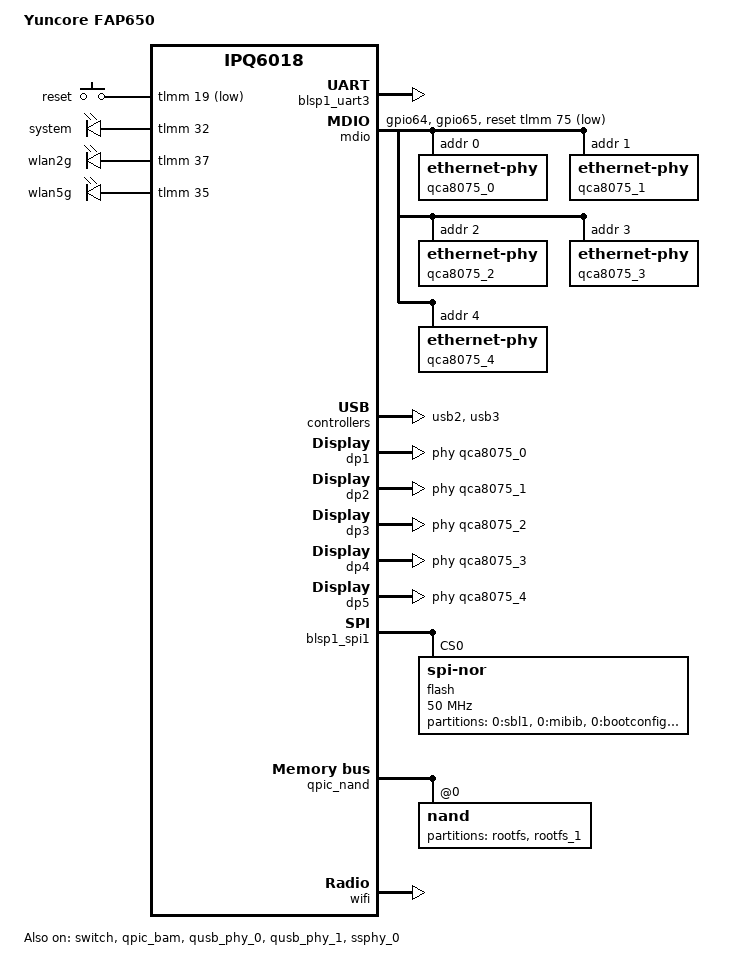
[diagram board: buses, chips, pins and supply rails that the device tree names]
// SPDX-License-Identifier: MIT, GPL-2.0 or later
/* Copyright (c) 2023, Ruslan Isaev <legale.legale@gmail.com> */

/dts-v1/;


#include "ipq6018.dtsi"
#include "ipq6018-ess.dtsi"
#include "ipq6018-512m.dtsi"
#include "ipq6018-nss.dtsi"

#include <dt-bindings/input/input.h>
#include <dt-bindings/gpio/gpio.h>

/ {
	model = "Yuncore FAP650";
	compatible = "yuncore,fap650", "qcom,ipq6018-cp03", "qcom,ipq6018";
	
	/delete-node/ rpm-glink;
	
	aliases {
		ethernet0 = &dp5;
		ethernet1 = &dp4;
		ethernet2 = &dp3;
		ethernet3 = &dp2;
		ethernet4 = &dp1;
		label-mac-device = &dp5;
		serial0 = &blsp1_uart3;
		led-boot = &led_system;
		led-failsafe = &led_system;
		led-running = &led_system;
		led-upgrade = &led_system;
	};

	chosen {
		stdout-path = "serial0:115200n8";
		bootargs-append = " root=/dev/ubiblock0_1 earlycon debug iomem=relaxed";
	};

	keys {
		compatible = "gpio-keys";

		reset {
			label = "reset";
			gpios = <&tlmm 19 GPIO_ACTIVE_LOW>;
			linux,code = <KEY_RESTART>;
		};
	};

	leds {
		compatible = "gpio-leds";

		led_system: led_system {
			label = "system";
			color = "red";
			gpios = <&tlmm 32 GPIO_ACTIVE_HIGH>;
		};

		led_wlan2g {
			label = "wlan2g";
			color = "green";
			gpios = <&tlmm 37 GPIO_ACTIVE_HIGH>;
		};

		led_wlan5g {
			label = "wlan5g";
			color = "blue";
			gpios = <&tlmm 35 GPIO_ACTIVE_HIGH>;
		};
	};
};

&soc {
	q6v5_m3: q6v5_m3 {
		compatible = "qca,q6v5-m3-rproc";
		firmware = "IPQ6018/m3_fw.mdt";
		qca,auto-restart;
		qcom,restart-group = <&q6v5_m3 &q6v5_wcss>;
	};
};

&blsp1_uart3 {
	pinctrl-0 = <&serial_3_pins>;
	pinctrl-names = "default";
	status = "okay";
};

&tlmm {
	mdio_pins: mdio-pins {
		mdc {
			pins = "gpio64";
			function = "mdc";
			drive-strength = <8>;
			bias-pull-up;
		};

		mdio {
			pins = "gpio65";
			function = "mdio";
			drive-strength = <8>;
			bias-pull-up;
		};
	};

};

&mdio {
	status = "okay";
	pinctrl-0 = <&mdio_pins>;
	pinctrl-names = "default";
	reset-gpios = <&tlmm 75 GPIO_ACTIVE_LOW>;
	reset-delay-us = <10000>;
	reset-post-delay-us = <50000>;

	qca8075_0: ethernet-phy@0 {
		reg = <0>;
	};
	qca8075_1: ethernet-phy@1 {
		reg = <1>;
	};
	qca8075_2: ethernet-phy@2 {
		reg = <2>;
	};
	qca8075_3: ethernet-phy@3 {
		reg = <3>;
	};
	qca8075_4: ethernet-phy@4 {
		reg = <4>;
	};
};

&switch {
	status = "okay";
	switch_cpu_bmp =   <ESS_PORT0>; /* cpu port bitmap */
	switch_lan_bmp =   <(ESS_PORT1|ESS_PORT2|ESS_PORT3|ESS_PORT4)>; /* lan port bitmap */
	switch_wan_bmp =   <ESS_PORT5>; /* wan port bitmap */
	switch_inner_bmp = <(ESS_PORT6|ESS_PORT7)>; /*inner port bitmap - ESS_PORT6 | ESS_PORT7 */
	switch_mac_mode =  <MAC_MODE_PSGMII>; /* mac mode for uniphy instance0*/
	switch_mac_mode1 = <MAC_MODE_DISABLED>; /* mac mode for uniphy instance1*/
	switch_mac_mode2 = <MAC_MODE_DISABLED>; /* mac mode for uniphy instance2*/

	qcom,port_phyinfo {
		port@0 {
			port_id = <1>;
			phy_address = <0>;
		};

		port@1 {
			port_id = <2>;
			phy_address = <1>;
		};

		port@2 {
			port_id = <3>;
			phy_address = <2>;
		};

		port@3 {
			port_id = <4>;
			phy_address = <3>;
		};

		port@4 {
			port_id = <5>;
			phy_address = <4>;
		};

	};
};

&usb2 {
	status = "okay";
};

&usb3 {
	status = "okay";
};

&edma {
	status = "okay";
};

&dp1 {
	status = "okay";
	phy-handle = <&qca8075_0>;
	label = "lan1";
};

&dp2 {
	status = "okay";
	phy-handle = <&qca8075_1>;
	label = "lan2";
};

&dp3 {
	status = "okay";
	phy-handle = <&qca8075_2>;
	label = "lan3";
};

&dp4 {
	status = "okay";
	phy-handle = <&qca8075_3>;
	label = "lan4";
};

&dp5 {
	status = "okay";
	phy-handle = <&qca8075_4>;
	label = "wan";
};

&qpic_bam {
	status = "okay";
};

&blsp1_spi1 {
	status = "okay";
	
	partitions {
		status = "disabled";
	};

	flash@0 {
		#address-cells = <1>;
		#size-cells = <1>;
		reg = <0>;
		compatible = "jedec,spi-nor";
		spi-max-frequency = <50000000>;

		partitions {
			compatible = "fixed-partitions";


			partition@0 {
				reg = <0x00 0xc0000>;
				label = "0:sbl1";
			};

			partition@c0000 {
				reg = <0xc0000 0x10000>;
				label = "0:mibib";
			};

			partition@d0000 {
				reg = <0xd0000 0x20000>;
				label = "0:bootconfig";
			};

			partition@f0000 {
				reg = <0xf0000 0x20000>;
				label = "0:bootconfig1";
			};

			partition@110000 {
				reg = <0x110000 0x1a0000>;
				label = "0:qsee";
			};

			partition@2b0000 {
				reg = <0x2b0000 0x1a0000>;
				label = "0:qsee_1";
			};

			partition@450000 {
				reg = <0x450000 0x10000>;
				label = "0:devcfg";
			};

			partition@460000 {
				reg = <0x460000 0x10000>;
				label = "0:devcfg_1";
			};

			partition@470000 {
				reg = <0x470000 0x40000>;
				label = "0:rpm";
			};

			partition@4b0000 {
				reg = <0x4b0000 0x40000>;
				label = "0:rpm_1";
			};

			partition@4f0000 {
				reg = <0x4f0000 0x10000>;
				label = "0:cdt";
			};

			partition@500000 {
				reg = <0x500000 0x10000>;
				label = "0:cdt_1";
			};

			partition@510000 {
				reg = <0x510000 0x10000>;
				label = "0:appsblenv";
			};

			partition@520000 {
				reg = <0x520000 0xa0000>;
				label = "0:appsbl";
			};

			partition@5c0000 {
				reg = <0x5c0000 0xa0000>;
				label = "0:appsbl_1";
			};

			partition@660000 {
				reg = <0x660000 0x40000>;
				label = "0:art";
			};

		};
	};
};

&qpic_nand {
	status = "okay";
	partitions {
		status = "disabled";
	};

	nand@0 {
		reg = <0>;

		nand-ecc-strength = <4>;
		nand-ecc-step-size = <512>;
		nand-bus-width = <8>;
	

		partitions {
			compatible = "fixed-partitions";
			#address-cells = <1>;
			#size-cells = <1>;

			partition@0 {
				label = "rootfs";
				reg = <0x0 0x3c00000>;
			};
			partition@3c00000 {
				label = "rootfs_1";
				reg = <0x3c00000 0x3c00000>;
			};
		};
	};
};

&wifi {
 	qcom,ath11k-calibration-variant = "Yuncore-FAP650";
	qcom,tgt-mem-mode = <1>;
	qcom,ath11k-fw-memory-mode = <1>;
	status = "okay";
};

&CPU0 {
	/delete-property/ cpu-supply;
};

&CPU1 {
	/delete-property/ cpu-supply;
};

&CPU2 {
	/delete-property/ cpu-supply;
};

&CPU3 {
	/delete-property/ cpu-supply;
};

&qusb_phy_0 {
	status = "okay";
};

&qusb_phy_1 {
	status = "okay";
};

&ssphy_0 {
	status = "okay";
};

&usb3 {
	status = "okay";
};

&usb2 {
	status = "okay";
};

